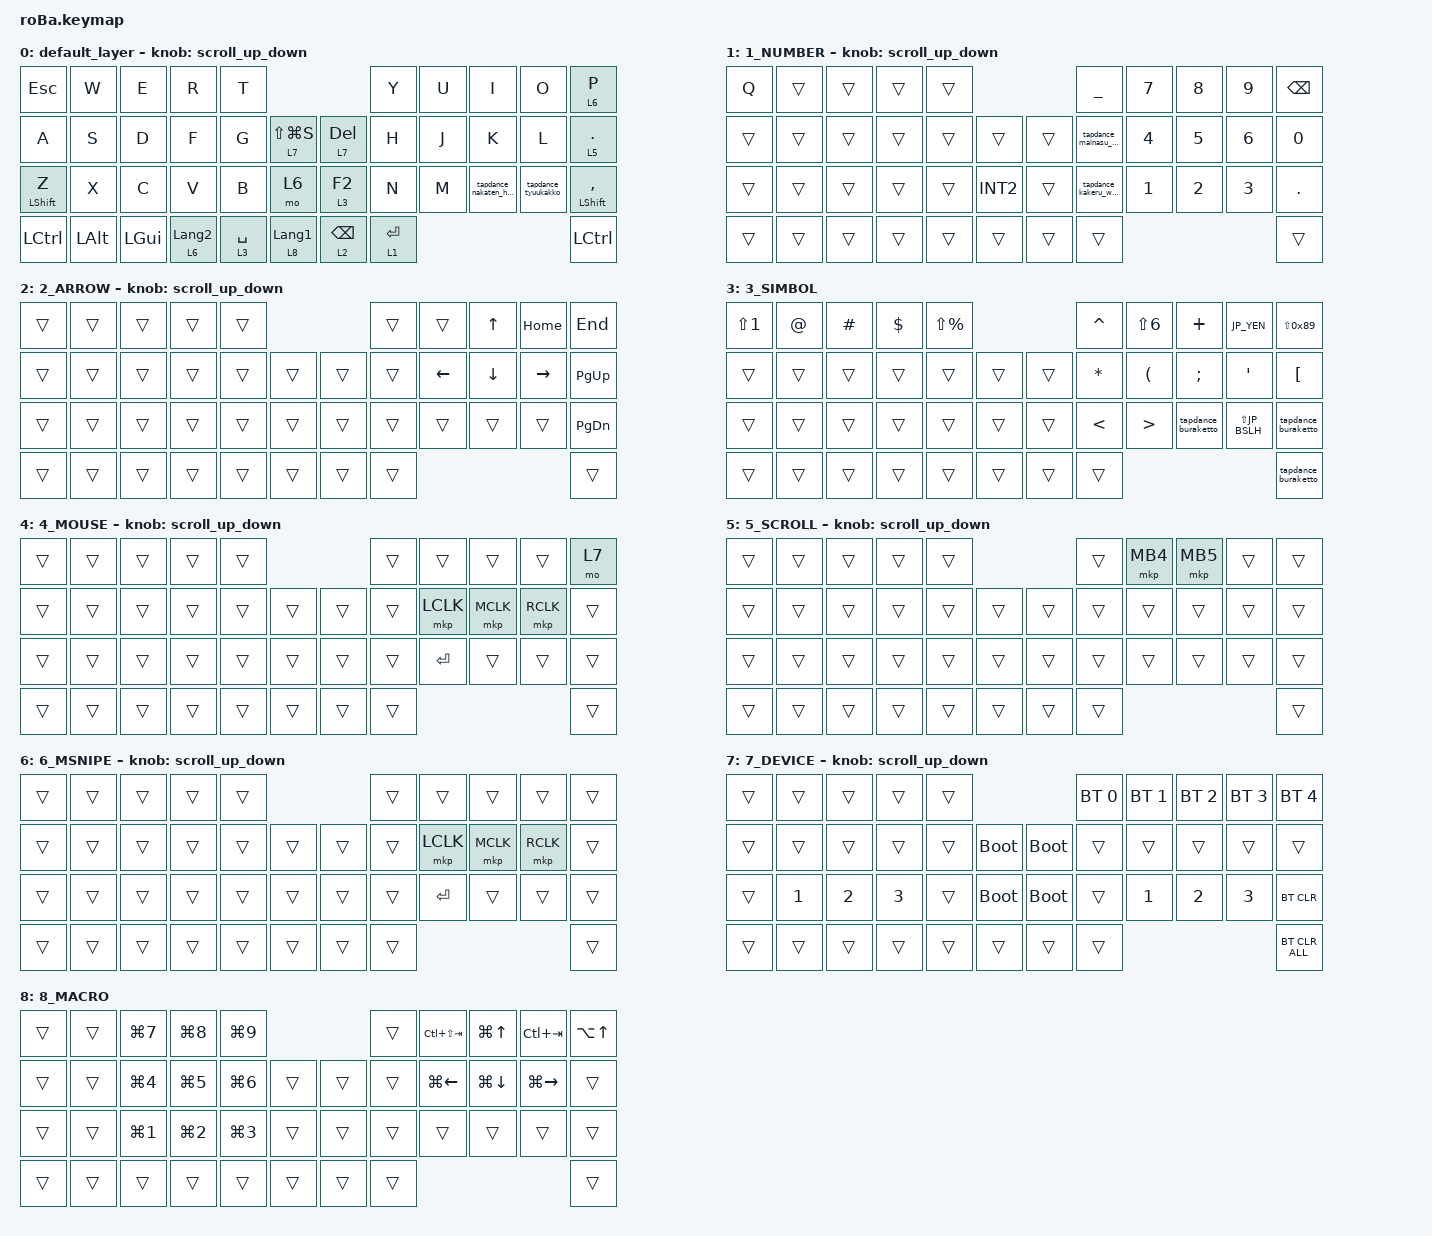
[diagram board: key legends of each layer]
// OS設定を日本語キーボードのまま使用するための変換定義
#define JP_ASTERISK     DOUBLE_QUOTES     // *
#define JP_PLUS         COLON             // +
#define JP_AMPERSAND    CARET             // &
#define JP_BSLH         INT1              // (backslash)
#define JP_UNDERSCORE   LS(0x87)          // _※動作せず
#define JP_UNDER        LS(JP_BSLH)       // _
#define JP_YEN          0x89              // ¥
#define JP_PIPE         LS(0x89)          // |
#define JP_KANA         LANGUAGE_1        // かな
#define JP_EISU         LANGUAGE_2        // 英数
#define JP_HANZEN       GRAVE             // 半角/全角
#define JP_MHEN  INT5                     // Muhenkan (無変換)
#define JP_HENK  INT4                     // Henkan (変換)

//マウス加速度を有効化したよ!


#define ZMK_MOUSE_DEFAULT_SCRL_VAL 100 // #includeのあとのあたりにスクロール量を変更 but

//ロータリーエンコーダでスクロールできるようになった！
//ZMK_POINTING_DEFAULT_SCL_VALをIncludeの前にいれないと行けないのは罠だよ @key_rain_1

#define ZMK_POINTING_DEFAULT_SCRL_VAL 80// #includeのあとのあたりにスクロール量変更の定義を追記

#include <behaviors.dtsi>
#include <dt-bindings/zmk/bt.h>
#include <dt-bindings/zmk/keys.h>
#include <dt-bindings/zmk/pointing.h>

#define MOUSE 4
#define SCROLL 5
#define MSNIPE 6
#define NUM 7

&mt {
    flavor = "balanced";
    quick-tap-ms = <0>;
};

/ {
    combos {
        compatible = "zmk,combos";

        tab {
            bindings = <&kp TAB>;
            key-positions = <0 10>;
        };

        shift_tab {
            bindings = <&kp LS(TAB)>;
            key-positions = <0 1>;
        };

        close_window {
            bindings = <&kp LA(F4)>;
            key-positions = <4 2>;
        };
    };

    macros {
        to_layer_0: to_layer_0 {
            compatible = "zmk,behavior-macro-one-param";
            #binding-cells = <1>;
            bindings = <&to 0 &macro_param_1to1 &kp MACRO_PLACEHOLDER>;
            label = "TO_LAYER_0";
        };
    };

    behaviors {
        lt_to_layer_0: lt_to_layer_0 {
            compatible = "zmk,behavior-hold-tap";
            label = "LAYER_TAP_TO_0";
            bindings = <&mo>, <&to_layer_0>;

            #binding-cells = <2>;
            tapping-term-ms = <200>;
        };

        scroll_up_down: behavior_sensor_rotate_mouse_wheel_up_down {
            compatible = "zmk,behavior-sensor-rotate";
            #sensor-binding-cells = <0>;
            bindings = <&msc SCRL_UP>, <&msc SCRL_DOWN>;

            tap-ms = <20>;
        };

        tapdance_mainasu_purasu: tapdance_mainasu_purasu {
            compatible = "zmk,behavior-tap-dance";
            label = "NEW_BEHAVIOR(-,+)";
            #binding-cells = <0>;
            bindings = <&kp MINUS>, <&kp JP_PLUS>;
        };

        tapdance_kakeru_waru: tapdance_kakeru_waru {
            compatible = "zmk,behavior-tap-dance";
            label = "TAP DANCE *,/";
            #binding-cells = <0>;
            bindings = <&kp JP_ASTERISK>, <&kp SLASH>;
        };

        tapdance_buraketto: tapdance_buraketto {
            compatible = "zmk,behavior-tap-dance";
            label = "TAPDNC_[]";
            #binding-cells = <0>;
            bindings = <&kp RIGHT_BRACKET>, <&kp BACKSLASH>;
        };

        tapdance_tyuukakko: tapdance_tyuukakko {
            compatible = "zmk,behavior-tap-dance";
            label = "TAPDNC_{}";
            #binding-cells = <0>;
            bindings = <&kp RIGHT_BRACE>, <&kp PIPE>;
        };

        tapdance_nakaten_hatena: tapdance_nakaten_hatena {
            compatible = "zmk,behavior-tap-dance";
            label = "TAPDNC_・,?";
            #binding-cells = <0>;
            bindings = <&kp SLASH>, <&kp QUESTION>;
        };
    };

    keymap {
        compatible = "zmk,keymap";

        default_layer {
            bindings = <
&kp ESCAPE        &kp W         &kp E         &kp R                   &kp T                                                   &kp Y        &kp U  &kp I                     &kp O                &lt 6 P
&kp A             &kp S         &kp D         &kp F                   &kp G        &lt 7 LS(LG(S))      &lt 7 DELETE          &kp H        &kp J  &kp K                     &kp L                &lt 5 PERIOD
&mt LEFT_SHIFT Z  &kp X         &kp C         &kp V                   &kp B        &mo 6                &lt 3 F2              &kp N        &kp M  &tapdance_nakaten_hatena  &tapdance_tyuukakko  &mt LEFT_SHIFT COMMA
&kp LCTRL         &kp LEFT_ALT  &kp LEFT_GUI  &lt 6 JP_EISU           &lt 3 SPACE  &lt 8 JP_KANA        &lt 2 BACKSPACE       &lt 1 ENTER                                                        &kp LEFT_CONTROL
            >;

            sensor-bindings = <&scroll_up_down>;
        };

        1_NUMBER {
            bindings = <
&kp Q   &trans  &trans  &trans  &trans                        &kp UNDERSCORE            &kp NUMBER_7  &kp NUMBER_8  &kp NUMBER_9  &kp BACKSPACE
&trans  &trans  &trans  &trans  &trans  &trans        &trans  &tapdance_mainasu_purasu  &kp NUMBER_4  &kp NUMBER_5  &kp NUMBER_6  &kp NUMBER_0
&trans  &trans  &trans  &trans  &trans  &kp INT2      &trans  &tapdance_kakeru_waru     &kp NUMBER_1  &kp NUMBER_2  &kp NUMBER_3  &kp PERIOD
&trans  &trans  &trans  &trans  &trans  &trans        &trans  &trans                                                              &trans
            >;

            sensor-bindings = <&scroll_up_down>;
        };

        2_ARROW {
            bindings = <
&trans  &trans  &trans  &trans  &trans                      &trans  &trans          &kp UP_ARROW    &kp HOME         &kp END
&trans  &trans  &trans  &trans  &trans  &trans      &trans  &trans  &kp LEFT_ARROW  &kp DOWN_ARROW  &kp RIGHT_ARROW  &kp PAGE_UP
&trans  &trans  &trans  &trans  &trans  &trans      &trans  &trans  &trans          &trans          &trans           &kp PAGE_DOWN
&trans  &trans  &trans  &trans  &trans  &trans      &trans  &trans                                                   &trans
            >;

            sensor-bindings = <&scroll_up_down>;
        };

        3_SIMBOL {
            bindings = <
&kp LS(NUMBER_1)  &kp AT_SIGN  &kp HASH  &kp DOLLAR  &kp LS(PERCENT)                      &kp JP_AMPERSAND  &kp LS(N6)            &kp PLUS             &kp JP_YEN           &kp JP_PIPE
&trans            &trans       &trans    &trans      &trans           &trans      &trans  &kp ASTERISK      &kp LEFT_PARENTHESIS  &kp SEMICOLON        &kp SQT              &kp LEFT_BRACKET
&trans            &trans       &trans    &trans      &trans           &trans      &trans  &kp LESS_THAN     &kp GREATER_THAN      &tapdance_buraketto  &kp JP_UNDER         &tapdance_buraketto
&trans            &trans       &trans    &trans      &trans           &trans      &trans  &trans                                                                            &tapdance_buraketto
            >;
        };

        4_MOUSE {
            bindings = <
&trans  &trans  &trans  &trans  &trans                      &trans  &trans        &trans     &trans     &mo 7
&trans  &trans  &trans  &trans  &trans  &trans      &trans  &trans  &mkp LCLK     &mkp MCLK  &mkp RCLK  &trans
&trans  &trans  &trans  &trans  &trans  &trans      &trans  &trans  &kp ENTER     &trans     &trans     &trans
&trans  &trans  &trans  &trans  &trans  &trans      &trans  &trans                                      &trans
            >;

            sensor-bindings = <&scroll_up_down>;
        };

        5_SCROLL {
            bindings = <
&trans  &trans  &trans  &trans  &trans                      &trans  &mkp MB4  &mkp MB5  &trans  &trans
&trans  &trans  &trans  &trans  &trans  &trans      &trans  &trans  &trans    &trans    &trans  &trans
&trans  &trans  &trans  &trans  &trans  &trans      &trans  &trans  &trans    &trans    &trans  &trans
&trans  &trans  &trans  &trans  &trans  &trans      &trans  &trans                              &trans
            >;

            sensor-bindings = <&scroll_up_down>;
        };

        6_MSNIPE {
            bindings = <
&trans  &trans  &trans  &trans  &trans                      &trans  &trans        &trans     &trans     &trans
&trans  &trans  &trans  &trans  &trans  &trans      &trans  &trans  &mkp LCLK     &mkp MCLK  &mkp RCLK  &trans
&trans  &trans  &trans  &trans  &trans  &trans      &trans  &trans  &kp ENTER     &trans     &trans     &trans
&trans  &trans  &trans  &trans  &trans  &trans      &trans  &trans                                      &trans
            >;

            sensor-bindings = <&scroll_up_down>;
        };

        7_DEVICE {
            bindings = <
&trans  &trans        &trans        &trans        &trans                                &bt BT_SEL 0  &bt BT_SEL 1  &bt BT_SEL 2  &bt BT_SEL 3  &bt BT_SEL 4
&trans  &trans        &trans        &trans        &trans  &bootloader      &bootloader  &trans        &trans        &trans        &trans        &trans
&trans  &kp NUMBER_1  &kp NUMBER_2  &kp NUMBER_3  &trans  &bootloader      &bootloader  &trans        &kp NUMBER_1  &kp NUMBER_2  &kp NUMBER_3  &bt BT_CLR
&trans  &trans        &trans        &trans        &trans  &trans           &trans       &trans                                                  &bt BT_CLR_ALL
            >;

            sensor-bindings = <&scroll_up_down>;
        };

        8_MACRO {
            bindings = <
&trans  &trans  &kp LG(N7)  &kp LG(N8)  &kp LG(N9)                      &trans  &kp LC(LS(TAB))  &kp LG(UP)    &kp LC(TAB)    &kp LA(UP)
&trans  &trans  &kp LG(N4)  &kp LG(N5)  &kp LG(N6)  &trans      &trans  &trans  &kp LG(LEFT)     &kp LG(DOWN)  &kp LG(RIGHT)  &trans
&trans  &trans  &kp LG(N1)  &kp LG(N2)  &kp LG(N3)  &trans      &trans  &trans  &trans           &trans        &trans         &trans
&trans  &trans  &trans      &trans      &trans      &trans      &trans  &trans                                                &trans
            >;
        };
    };
};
